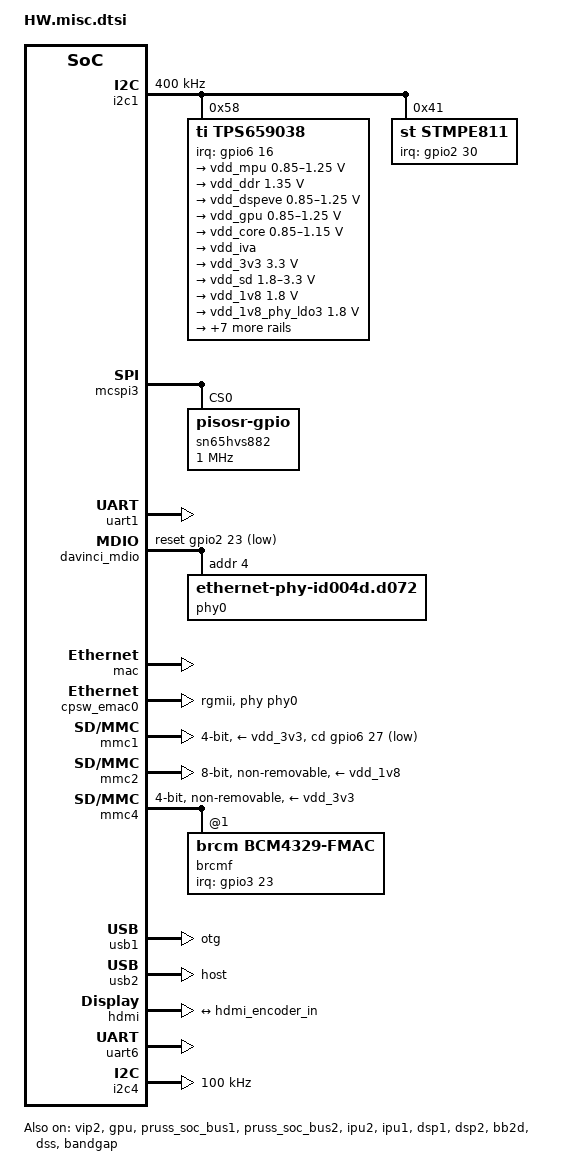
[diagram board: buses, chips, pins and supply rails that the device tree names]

&vip2 {status = "okay";};

&i2c1 {
    status = "okay";
    clock-frequency = <400000>;

    tps659038: tps659038@58 {
        compatible = "ti,tps659038";
        reg = <0x58>;
        interrupt-parent = <&gpio6>;
        interrupts = <16 IRQ_TYPE_LEVEL_LOW>;

        pinctrl-names = "default";
        pinctrl-0 = <&pmic_pins_default>;

        #interrupt-cells = <2>;
        interrupt-controller;

        ti,system-power-controller;
        ti,palmas-override-powerhold;

        tps659038_pmic {
            compatible = "ti,tps659038-pmic";

            smps12-in-supply = <&vdd_5v>;
            smps3-in-supply = <&vdd_5v>;
            smps45-in-supply = <&vdd_5v>;
            smps6-in-supply = <&vdd_5v>;
            smps7-in-supply = <&vdd_5v>;
            mps3-in-supply = <&vdd_5v>;
            smps8-in-supply = <&vdd_5v>;
            smps9-in-supply = <&vdd_5v>;
            ldo1-in-supply = <&vdd_5v>;
            ldo2-in-supply = <&vdd_5v>;
            ldo3-in-supply = <&vdd_5v>;
            ldo4-in-supply = <&vdd_5v>;
            ldo9-in-supply = <&vdd_5v>;
            ldoln-in-supply = <&vdd_5v>;
            ldousb-in-supply = <&vdd_5v>;
            ldortc-in-supply = <&vdd_5v>;

            regulators {
                vdd_mpu: smps12 {
                    /* VDD_MPU */
                    regulator-name = "smps12";
                    regulator-min-microvolt = <850000>;
                    regulator-max-microvolt = <1250000>;
                    regulator-always-on;
                    regulator-boot-on;
                };

                vdd_ddr: smps3 {
                    /* VDD_DDR EMIF1 EMIF2 */
                    regulator-name = "smps3";
                    regulator-min-microvolt = <1350000>;
                    regulator-max-microvolt = <1350000>;
                    regulator-always-on;
                    regulator-boot-on;
                };

                vdd_dspeve: smps45 {
                    /* VDD_DSPEVE on AM572 */
                    regulator-name = "smps45";
                    regulator-min-microvolt = < 850000>;
                    regulator-max-microvolt = <1250000>;
                    regulator-always-on;
                    regulator-boot-on;
                };

                vdd_gpu: smps6 {
                    /* VDD_GPU */
                    regulator-name = "smps6";
                    regulator-min-microvolt = < 850000>;
                    regulator-max-microvolt = <1250000>;
                    regulator-always-on;
                    regulator-boot-on;
                };

                vdd_core: smps7 {
                    /* VDD_CORE */
                    regulator-name = "smps7";
                    regulator-min-microvolt = < 850000>;	/*** 1.15V */
                    regulator-max-microvolt = <1150000>;
                    regulator-always-on;
                    regulator-boot-on;
                };

                vdd_iva: smps8 {
                    /* VDD_IVAHD */				/*** 1.06V */
                    regulator-name = "smps8";
                };

                vdd_3v3: smps9 {
                    /* VDD_3V3 */
                    regulator-name = "smps9";
                    regulator-min-microvolt = <3300000>;
                    regulator-max-microvolt = <3300000>;
                    regulator-always-on;
                    regulator-boot-on;
                };

                vdd_sd: ldo1 {
                    /* VDDSHV8 - VSDMMC  */
                    regulator-name = "ldo1";
                    regulator-min-microvolt = <1800000>;
                    regulator-max-microvolt = <3300000>;
                    regulator-boot-on;
                    regulator-always-on;
                };

                vdd_1v8: ldo2 {
                    /* VDDSH18V */
                    regulator-name = "ldo2";
                    regulator-min-microvolt = <1800000>;
                    regulator-max-microvolt = <1800000>;
                    regulator-always-on;
                    regulator-boot-on;
                };

                vdd_1v8_phy_ldo3: ldo3 {
                    /* R1.3a 572x V1_8PHY_LDO3: USB, SATA */
                    regulator-name = "ldo3";
                    regulator-min-microvolt = <1800000>;
                    regulator-max-microvolt = <1800000>;
                    regulator-always-on;
                    regulator-boot-on;
                };

                vdd_1v8_phy_ldo4: ldo4 {
                    /* R1.3a 572x V1_8PHY_LDO4: PCIE, HDMI*/
                    regulator-name = "ldo4";
                    regulator-min-microvolt = <1800000>;
                    regulator-max-microvolt = <1800000>;
                    regulator-always-on;
                    regulator-boot-on;
                };

                /* LDO5-8 unused */

                vdd_rtc: ldo9 {
                    /* VDD_RTC  */
                    regulator-name = "ldo9";
                    regulator-min-microvolt = < 840000>;
                    regulator-max-microvolt = <1160000>;
                    regulator-always-on;
                    regulator-boot-on;
                };

                vdd_1v8_pll: ldoln {
                    /* VDDA_1V8_PLL */
                    regulator-name = "ldoln";
                    regulator-min-microvolt = <1800000>;
                    regulator-max-microvolt = <1800000>;
                    regulator-always-on;
                    regulator-boot-on;
                };

                ldousb_reg: ldousb {
                    /* VDDA_3V_USB: VDDA_USBHS33 */
                    regulator-name = "ldousb";
                    regulator-min-microvolt = <3300000>;
                    regulator-max-microvolt = <3300000>;
                    regulator-always-on;
                    regulator-boot-on;
                };

                ldortc_reg: ldortc {
                    /* VDDA_RTC  */
                    regulator-name = "ldortc";
                    regulator-min-microvolt = <1800000>;
                    regulator-max-microvolt = <1800000>;
                    regulator-always-on;
                    regulator-boot-on;
                };

                regen1: regen1 {
                    /* VDD_3V3_ON */
                    regulator-name = "regen1";
                    regulator-boot-on;
                    regulator-always-on;
                };

                regen2: regen2 {
                    /* Needed for PMIC internal resource */
                    regulator-name = "regen2";
                    regulator-boot-on;
                    regulator-always-on;
                };
            };
        };

        tps659038_rtc: tps659038_rtc {
            compatible = "ti,palmas-rtc";
            interrupt-parent = <&tps659038>;
            interrupts = <8 IRQ_TYPE_EDGE_FALLING>;
            wakeup-source;
        };

        tps659038_pwr_button: tps659038_pwr_button {
            compatible = "ti,palmas-pwrbutton";
            interrupt-parent = <&tps659038>;
            interrupts = <1 IRQ_TYPE_EDGE_FALLING>;
            wakeup-source;
            ti,palmas-long-press-seconds = <12>;
        };

        tps659038_gpio: tps659038_gpio {
            compatible = "ti,palmas-gpio";
            gpio-controller;
            #gpio-cells = <2>;
        };
    };

    /* STMPE811 touch screen controller */
    stmpe811@41 {
        compatible = "st,stmpe811";
        reg = <0x41>;
        interrupts = <30 IRQ_TYPE_LEVEL_LOW>;
        interrupt-parent = <&gpio2>;
        interrupt-controller;
        id = <0>;
        blocks = <0x5>;
        irq-trigger = <0x1>;
        st,mod-12b = <1>; /* 12-bit ADC */
        st,ref-sel = <0>; /* internal ADC reference */
        st,adc-freq = <1>; /* 3.25 MHz ADC clock speed */
        st,sample-time = <4>; /* ADC converstion time: 80 clocks */

        pinctrl-names = "default";
        pinctrl-0 = <&adc_pins_default>;

        stmpe_adc {
            compatible = "st,stmpe-adc";
            st,norequest-mask = <0x00>; /* mask any channels to be used by touchscreen */
            adc0: iio-device@0 {
                #io-channel-cells = <1>;
                iio-channels = <&adc0 4>, <&adc0 1>, <&adc0 2>, <&adc0 3>, <&adc0 4>, <&adc0 5>, <&adc0 6>;
                iio-channel-names = "AIN0_P9_39", "AIN1_P9_40", "AIN2_P9_37", "AIN3_P9_38",
                    "AIN4_P9_33", "AIN5_P9_36", "AIN6_P9_35";
            };
        };

        stmpe_touchscreen {
            status = "disabled";
            compatible = "st,stmpe-ts";
            /* 8 sample average control */
            st,ave-ctrl = <3>;
            /* 7 length fractional part in z */
            st,fraction-z = <7>;
            /*
             * 50 mA typical 80 mA max touchscreen drivers
             * current limit value
             */
            st,i-drive = <1>;
            /* 1 ms panel driver settling time */
            st,settling = <3>;
            /* 5 ms touch detect interrupt delay */
            st,touch-det-delay = <5>;
        };

        stmpe_gpio {
            compatible = "st,stmpe-gpio";
        };

        stmpe_pwm {
            compatible = "st,stmpe-pwm";
            #pwm-cells = <2>;
        };
    };
};

&mcspi3 {
    status = "okay";
    ti,pindir-d0-out-d1-in;

    sn65hvs882: sn65hvs882@0 {
        compatible = "pisosr-gpio";
        gpio-controller;
        #gpio-cells = <2>;

        reg = <0>;
        spi-max-frequency = <1000000>;
        spi-cpol;
    };
};

&cpu0 {
    vdd-supply = <&vdd_mpu>;
    voltage-tolerance = <1>;
};

&gpu {
    status = "okay";
};

&pruss_soc_bus1 {
    status = "okay";

    pruss1: pruss@4b200000 {
        status = "okay";
    };
};

&pruss_soc_bus2 {
    status = "okay";

    pruss2: pruss@4b280000 {
        status = "okay";
    };
};

&uart1 {
    status = "okay";
};

&davinci_mdio {
    reset-gpios = <&gpio2 23 GPIO_ACTIVE_LOW>;
    reset-delay-us = <2>;

    phy0: ethernet-phy@1 {
        reg = <4>;
        compatible = "ethernet-phy-id004d.d072",
            "ethernet-phy-ieee802.3-c22";
        eee-broken-100tx;
        eee-broken-1000t;
    };
};

&mac {
    slaves = <1>;
    status = "okay";
};

&cpsw_emac0 {
    phy-handle = <&phy0>;
    phy-mode = "rgmii";
};

&ipu2 {
    status = "okay";
    memory-region = <&ipu2_memory_region>;
};

&ipu1 {
    status = "okay";
    memory-region = <&ipu1_memory_region>;
};

&dsp1 {
    status = "okay";
    memory-region = <&dsp1_memory_region>;
};

&dsp2 {
    status = "okay";
    memory-region = <&dsp2_memory_region>;
};

&mmc1 {
    status = "okay";
    vmmc-supply = <&vdd_3v3>;
    vqmmc-supply = <&vdd_sd>;
    bus-width = <4>;
    cd-gpios = <&gpio6 27 GPIO_ACTIVE_LOW>; /* gpio 219 */

    ti,needs-special-reset;
    ti,dual-volt;
    sd-uhs-sdr12;
    sd-uhs-sdr25;
    sd-uhs-sdr50;
    sd-uhs-ddr50;
    sd-uhs-sdr104;
    mmc-hs200-1_8v;
    cap-sd-highspeed;
    cap-mmc-highspeed;
    dmas = <&sdma_xbar 61>, <&sdma_xbar 62>;
    dma-names = "tx", "rx";

    pinctrl-names = "default", "hs", "sdr12", "sdr25", "sdr50", "ddr50", "sdr104";
    pinctrl-0 = <&mmc1_pins_default &microsd_extra_pins_default>;
    pinctrl-1 = <&mmc1_pins_hs &microsd_extra_pins_default>;
    pinctrl-2 = <&mmc1_pins_sdr12 &microsd_extra_pins_default>;
    pinctrl-3 = <&mmc1_pins_sdr25 &microsd_extra_pins_default>;
    pinctrl-4 = <&mmc1_pins_sdr50 &microsd_extra_pins_default>;
    pinctrl-5 = <&mmc1_pins_ddr50 &mmc1_iodelay_ddr_rev20_conf &microsd_extra_pins_default>;
    pinctrl-6 = <&mmc1_pins_sdr104 &mmc1_iodelay_sdr104_rev20_conf &microsd_extra_pins_default>;
};

&mmc2 {
    status = "okay";
    vmmc-supply = <&vdd_1v8>;
    vqmmc-supply = <&vdd_1v8>;
    bus-width = <8>;
    ti,non-removable;
    non-removable;
    mmc-pwrseq = <&emmc_pwrseq>;

    ti,needs-special-reset;
    dmas = <&sdma_xbar 47>, <&sdma_xbar 48>;
    dma-names = "tx", "rx";
    pinctrl-names = "default", "hs", "ddr_1_8v", "hs200_1_8v";
    pinctrl-0 = <&mmc2_pins_default>;
    pinctrl-1 = <&mmc2_pins_hs>;
    pinctrl-2 = <&mmc2_pins_ddr_rev20>;
    pinctrl-3 = <&mmc2_pins_hs200>;
};

&mmc4 {
    /* DS: Default speed (DS) up to 25 MHz, including 1- and 4-bit modes (3.3 V signaling). */
    /* HS: High speed up to 50 MHz (3.3 V signaling). */
    /* SDR12: SDR up to 25 MHz (1.8 V signaling). */
    /* SDR25: SDR up to 50 MHz (1.8 V signaling). */
    /* SDR50: SDR up to 100 MHz (1.8 V signaling). */
    /* SDR104: SDR up to 208 MHz (1.8 V signaling) */
    /* DDR50: DDR up to 50 MHz (1.8 V signaling). */
    status = "okay";

    pinctrl-names = "default", "hs";
    pinctrl-0 = <&mmc4_pins_default &wifibt_extra_pins_default>;
    pinctrl-1 = <&mmc4_pins_hs &wifibt_extra_pins_default>;

    ti,needs-special-reset;
    vmmc-supply = <&vdd_3v3>;
    cap-power-off-card;
    keep-power-in-suspend;
    bus-width = <4>;
    ti,non-removable;
    non-removable;
    no-1-8-v;
    max-frequency = <24000000>;

    #address-cells = <1>;
    #size-cells = <0>;
    mmc-pwrseq = <&brcmf_pwrseq>;

    brcmf: wifi@1 {
        status = "okay";
        reg = <1>;
        compatible = "brcm,bcm4329-fmac";

        //brcm,drive-strength = <10>;
        //brcm,broken-sg-support;
        //brcm,broken_sg_support;
        brcm,sd-head-align = <4>;
        brcm,sd_head_align = <4>;
        brcm,sd_sgentry_align = <512>;

        interrupt-parent = <&gpio3>;
        interrupts = <23 IRQ_TYPE_LEVEL_LOW>;
        interrupt-names = "host-wake";
    };
};

&usb2_phy1 {phy-supply = <&ldousb_reg>;};
&usb2_phy2 {phy-supply = <&ldousb_reg>;};
&usb1 {status = "okay";dr_mode = "otg";};
&omap_dwc3_1 {extcon = <&extcon_usb1>;};
&usb2 {status = "okay";dr_mode = "host";};
&bb2d {status = "okay";};
&dss {status = "okay";vdda_video-supply = <&vdd_1v8_pll>;};
&hdmi {status = "okay";vdda-supply = <&vdd_1v8_phy_ldo4>;pinctrl-names = "default";pinctrl-0 = <&hdmi_pins_default>;port {hdmi_out: endpoint {remote-endpoint = <&hdmi_encoder_in>;};};};
&bandgap {status = "okay";};

&mailbox1 {status = "okay";};
&mailbox2 {status = "okay";};
&mailbox3 {status = "okay";};
&mailbox4 {status = "okay";};
&mailbox5 {status = "okay";};
&mailbox6 {status = "okay";};
&mailbox7 {status = "okay";};
&mailbox8 {status = "okay";};
&mailbox9 {status = "okay";};
&mailbox10 {status = "okay";};
&mailbox11 {status = "okay";};
&mailbox12 {status = "okay";};
&mailbox13 {status = "okay";};

&cpu_alert0 {temperature = <55000>; /* milliCelsius */};
&cpu_crit {temperature = <85000>; /* milliCelsius */};
&gpu_crit {temperature = <85000>; /* milliCelsius */};
&core_crit {temperature = <85000>; /* milliCelsius */};
&dspeve_crit {temperature = <85000>; /* milliCelsius */};
&iva_crit {temperature = <85000>; /* milliCelsius */};

&sata {status = "disabled";};
&sata_phy {status = "disabled";};

/* bluetooth */
&uart6 {status = "okay";};

/* cape header stuff */
&i2c4 {status = "okay";clock-frequency = <100000>;symlink = "bone-i2c2";};

/* thermal hacks */
&cpu0_opp_table {opp_slow-400000000 {opp-hz = /bits/ 64 <400000000>;opp-microvolt = <860000 850000 1100000>,<860000 850000 1100000>;opp-supported-hw = <0xFF 0x01>;opp-suspend;};};

#include "dra7-ipu-common-early-boot.dtsi"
